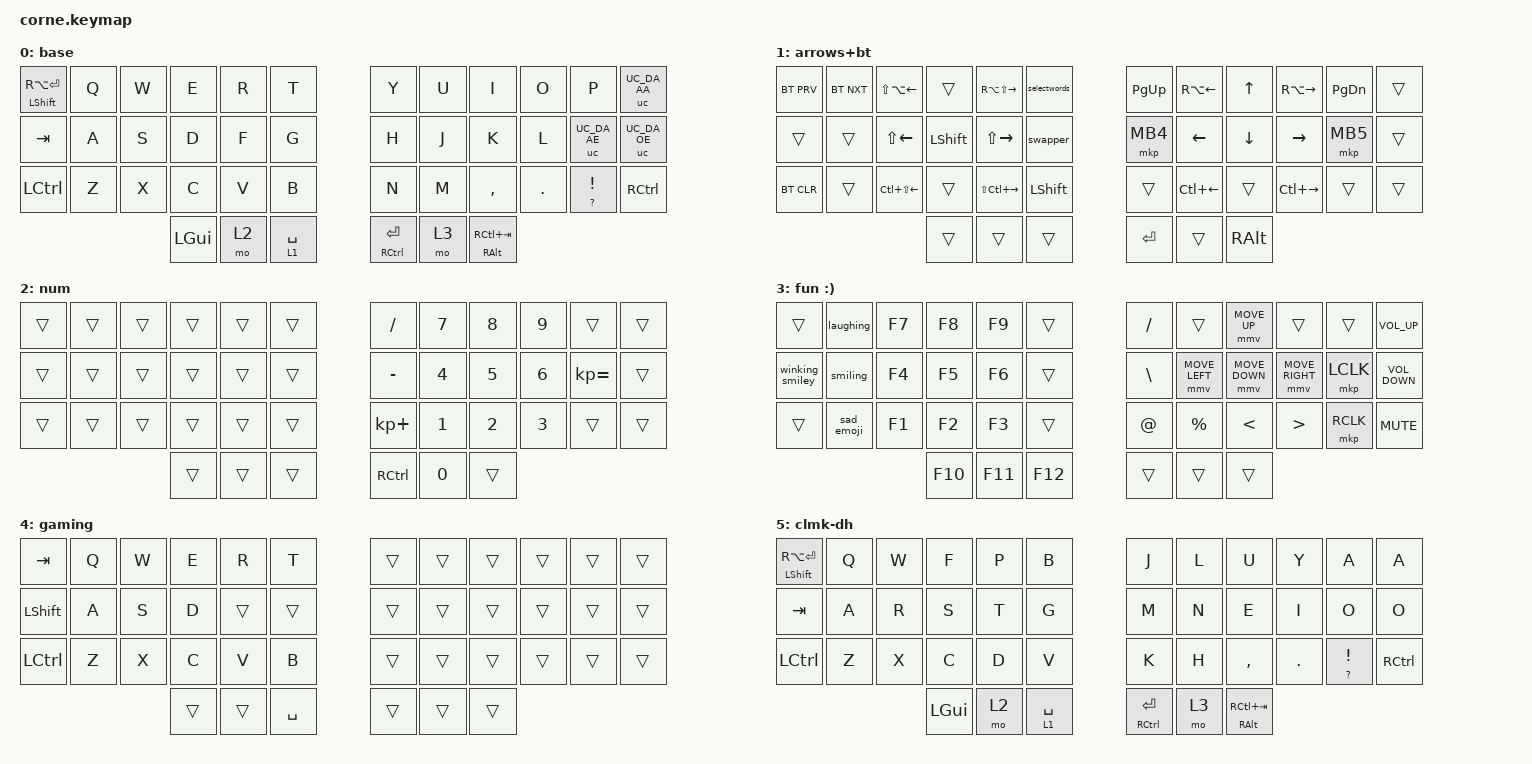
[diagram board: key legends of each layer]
/*
 * Copyright (c) 2020 The ZMK Contributors
 *
 * SPDX-License-Identifier: MIT
 */

#include <dt-bindings/zmk/mouse.h>

// includes for unicode/danish - from urok

#include <behaviors/unicode.dtsi>
#include <behaviors.dtsi>
#include <dt-bindings/zmk/bt.h>
#include <dt-bindings/zmk/ext_power.h>
#include <dt-bindings/zmk/keys.h>
#include <dt-bindings/zmk/pointing.h>

&caps_word { continue-list = <UNDERSCORE BACKSPACE DELETE>; };

&uc {
    default-mode = <UC_MODE_MACOS>;  // Replace with desired input system.
    minimum-length = <4>;
};

/ {
    combos {
        compatible = "zmk,combos";

        backspace {
            bindings = <&kp BACKSPACE>;
            key-positions = <7 8>;
            layers = <0 2 3 5>;
        };

        delete {
            bindings = <&kp DELETE>;
            key-positions = <8 9>;
            layers = <0 1 2 3 5>;
        };

        left_paranthesis {
            bindings = <&kp LEFT_PARENTHESIS>;
            key-positions = <3 2>;
            layers = <0 5>;
            timeout-ms = <20>;
        };

        right_paranthesis {
            bindings = <&kp RIGHT_PARENTHESIS>;
            key-positions = <3 4>;
            layers = <0 5>;
            timeout-ms = <20>;
        };

        left_bracket {
            bindings = <&kp LEFT_BRACKET>;
            key-positions = <14 15>;
            layers = <0 5>;
        };

        right_bracket {
            bindings = <&kp RIGHT_BRACKET>;
            key-positions = <15 16>;
            layers = <0 5>;
        };

        left_brace {
            bindings = <&kp LEFT_BRACE>;
            key-positions = <26 27>;
            layers = <0 5>;
        };

        right_brace {
            bindings = <&kp RIGHT_BRACE>;
            key-positions = <28 27>;
            layers = <0 5>;
        };

        quotation_combo {
            bindings = <&kp DOUBLE_QUOTES>;
            key-positions = <4 5>;
            layers = <0 5>;
        };

        single-quote {
            bindings = <&kp SINGLE_QUOTE>;
            key-positions = <29 28>;
            layers = <0 5>;
        };

        power-on {
            bindings = <&ext_power EP_ON>;
            key-positions = <1 13 25>;
            layers = <3>;
        };

        hash {
            bindings = <&kp HASH>;
            key-positions = <22 23>;
            layers = <0 5>;
        };

        minus-combo {
            bindings = <&kp MINUS>;
            key-positions = <6 7>;
            layers = <0 5>;
        };

        underscore-combo {
            bindings = <&kp UNDERSCORE>;
            key-positions = <30 31>;
            layers = <0 5>;
        };

        shift-left-combo {
            bindings = <&kp LEFT_SHIFT>;
            key-positions = <16 17>;
            layers = <0 5>;
        };

        shift-combo-right {
            bindings = <&kp RIGHT_SHIFT>;
            key-positions = <18 19>;
            layers = <0 5>;
        };

        semicolon_combo {
            bindings = <&kp SEMICOLON>;
            key-positions = <19 20>;
            layers = <0 5>;
        };

        colon_combo {
            bindings = <&kp COLON>;
            key-positions = <21 20>;
            layers = <0 5>;
        };

        copy_combo {
            bindings = <&kp RC(C)>;
            key-positions = <12 13>;
            layers = <0 5>;
        };

        paste_combo {
            bindings = <&kp RC(V)>;
            key-positions = <24 25>;
            layers = <0 5>;
        };

        grave-combo {
            bindings = <&kp GRAVE>;
            key-positions = <31 32>;
        };

        asterisk-combo {
            bindings = <&kp ASTERISK>;
            key-positions = <10 9>;
            layers = <0>;
            require-prior-idle-ms = <100>;
        };

        ampersand-combo {
            bindings = <&kp AMPERSAND>;
            key-positions = <11 10>;
        };

        ctrl-slash-combo {
            bindings = <&kp LC(KP_SLASH)>;
            key-positions = <5 17>;
            layers = <0 5>;
        };

        caps-combo {
            bindings = <&caps_word>;
            key-positions = <17 18>;
            layers = <0 5>;
        };

        shift-combo {
            bindings = <&kp LEFT_SHIFT>;
            key-positions = <40 37>;
            layers = <0>;
        };

        backspace-word {
            bindings = <&kp RA(BACKSPACE)>;
            key-positions = <7 8>;
            layers = <1>;
        };

        delete-word {
            bindings = <&kp RA(DELETE)>;
            key-positions = <8 9>;
            layers = <1>;
        };

        escape-combo {
            bindings = <&kp ESCAPE>;
            key-positions = <0 11>;
            layers = <0 5>;
        };

        to_gaming_layer {
            bindings = <&to 4>;
            key-positions = <11 23 35>;
            layers = <0>;
        };

        to-default-layer {
            bindings = <&to 0>;
            key-positions = <11 23 35>;
            layers = <4>;
        };

        to-colemak {
            bindings = <&to 5>;
            key-positions = <10 22 34>;
            layers = <0>;
        };

        to-default-from-colemak {
            bindings = <&to 0>;
            key-positions = <10 22 34>;
            layers = <5>;
        };

        paste-combo-2 {
            bindings = <&kp RC(V)>;
            key-positions = <29 30>;
        };

        cut-combo-2 {
            bindings = <&kp LC(X)>;
            key-positions = <26 33>;
        };

        //        a-ring-combo {
        //            bindings = <&kp A_RING>;
        //            key-positions = <22 21>;
        //        };

        copy-combo-2 {
            bindings = <&kp RC(C)>;
            key-positions = <2 9>;
        };

        bootloader {
            bindings = <&bootloader>;
            key-positions = <24 25 26 27>;
            layers = <3>;
        };

        percent-combo {
            bindings = <&kp RS(PERCENT)>;
            key-positions = <35 34>;
        };
    };

    macros {
        smiling: smiling {
            compatible = "zmk,behavior-macro";
            label = "SMILING";
            #binding-cells = <0>;
            bindings = <&kp COLON &kp RIGHT_PARENTHESIS &kp SPACE>;
        };

        laughing: laughing {
            compatible = "zmk,behavior-macro";
            label = "LAUGHING";
            #binding-cells = <0>;
            bindings = <&kp COLON &kp LS(D) &kp SPACE>;
        };

        sad_emoji: sad_emoji {
            compatible = "zmk,behavior-macro";
            #binding-cells = <0>;
            bindings = <&kp COLON &kp KP_MINUS &kp LEFT_PARENTHESIS &kp SPACE>;
            label = "SAD_EMOJI";
        };

        winking_smiley: winking_smiley {
            compatible = "zmk,behavior-macro";
            #binding-cells = <0>;
            bindings = <&kp SEMICOLON &kp RIGHT_PARENTHESIS &kp SPACE>;
            label = "WINKING_SMILEY";
        };

        select_word_1: select_word_1 {
            compatible = "zmk,behavior-macro";
            #binding-cells = <0>;
            bindings = <&kp RA(UP)>;
            label = "SELECT_WORD_1";
        };

        select_word_2: select_word_2 {
            compatible = "zmk,behavior-macro";
            #binding-cells = <0>;
            bindings = <&kp RA(UP) &kp RA(UP)>;
            label = "SELECT_WORD_2";
        };

        email: email {
            compatible = "zmk,behavior-macro";
            #binding-cells = <0>;
            bindings = <&none &kp J &kp M &kp A &kp AT &kp S &kp O &kp F &kp T &kp P &kp A &kp Y &kp DOT &kp I &kp O>;
            label = "EMAIL";
        };
    };

    behaviors {
        ht: ht {
            compatible = "zmk,behavior-hold-tap";
            label = "HT";
            bindings = <&kp>, <&kp>;

            #binding-cells = <2>;
            tapping-term-ms = <200>;
            hold-trigger-key-positions = <11 0 1 2 3 4 5 6 7 8 9 10 11 12 13 14 15 16 17 18 19 20 21 22 23 24 25 26 27 28 29 30 31 32 33 34 35 36 37 38 39 40 41>;
        };

        lht: lht {
            compatible = "zmk,behavior-hold-tap";
            label = "LHT";
            bindings = <&kp>, <&kp>;

            #binding-cells = <2>;
            tapping-term-ms = <500>;
            flavor = "tap-preferred";
            hold-trigger-key-positions = <28 27 26>;
        };

        selectwords: selectwords {
            compatible = "zmk,behavior-tap-dance";
            label = "SELECT-WORDS";
            #binding-cells = <0>;
            bindings = <&select_word_1>, <&select_word_2>;
        };

        swapper: swapper {
            compatible = "zmk,behavior-smart-toggle";
            #binding-cells = <0>;
            bindings = <&kp LALT>, <&kp TAB>;

            ignored-key-positions = <17 29>;
        };

        ht_sw: ht_sw {
            compatible = "zmk,behavior-hold-tap";
            #binding-cells = <2>;
            tapping-term-ms = <150>;
            flavor = "hold-preferred";
            bindings = <&kp>, <&swapper>;
        };
    };

    keymap {
        compatible = "zmk,keymap";

        default_layer {
            // -----------------------------------------------------------------------------------------
            // |  ESC |  Q  |  W  |  E  |  R  |  T  |   |  Y  |  U   |  I  |  O  |  P  | [ |
            // |LSHIFT|  A  |  S  |  D  |  F  |  G  |   |  H  |  J   |  K  |  L  |  ;  |  '   |
            // | CTRL |  Z  |  X  |  C  |  V  |  B  |   |  N  |  M   |  ,  |  .  |  /  | BKSP  |
            //                    | GUI | SPC | LWR |   | RSE | ENT  | ALT |

            bindings = <
&mt LSHIFT RA(ENTER)  &kp Q  &kp W  &kp E         &kp R  &kp T          &kp Y                    &kp U  &kp I                  &kp O       &kp P              &uc UC_DA_AA
&kp TAB               &kp A  &kp S  &kp D         &kp F  &kp G          &kp H                    &kp J  &kp K                  &kp L       &uc UC_DA_AE       &uc UC_DA_OE
&kp LCTRL             &kp Z  &kp X  &kp C         &kp V  &kp B          &kp N                    &kp M  &kp COMMA              &kp PERIOD  &mt QUESTION EXCL  &kp RIGHT_CONTROL
                                    &kp LEFT_GUI  &mo 2  &lt 1 SPACE    &mt RIGHT_CONTROL ENTER  &mo 3  &ht RIGHT_ALT RC(TAB)
            >;

            label = "base";
        };

        arrows {
            // -----------------------------------------------------------------------------------------
            // |  TAB |  1  |  2  |  3  |  4  |  5  |   |  6  |  7  |  8  |  9  |  0  | BKSP |
            // | BTCLR| BT1 | BT2 | BT3 | BT4 | BT5 |   | LFT | DWN |  UP | RGT |     |      |
            // | SHFT |     |     |     |     |     |   |     |     |     |     |     |      |
            //                    | GUI |     | SPC |   | ENT |     | ALT |

            bindings = <
&bt BT_PRV  &bt BT_NXT  &kp LS(LA(LEFT_ARROW))  &trans          &kp RA(LS(RIGHT))  &selectwords      &kp PG_UP  &kp RA(LEFT_ARROW)  &kp UP    &kp RA(RIGHT_ARROW)  &kp PAGE_DOWN  &trans
&trans      &trans      &kp LS(LEFT_ARROW)      &kp LEFT_SHIFT  &kp LS(RIGHT)      &swapper          &mkp MB4   &kp LEFT            &kp DOWN  &kp RIGHT            &mkp MB5       &trans
&bt BT_CLR  &trans      &kp LC(LS(LEFT_ARROW))  &trans          &kp LS(LC(RIGHT))  &kp LEFT_SHIFT    &trans     &kp LC(LEFT_ARROW)  &trans    &kp LC(RIGHT_ARROW)  &trans         &trans
                                                &trans          &trans             &trans            &kp RET    &trans              &kp RALT
            >;

            label = "arrows+bt";
        };

        numeric {
            bindings = <
&trans  &trans  &trans  &trans  &trans  &trans    &kp SLASH    &kp N7  &kp N8  &kp N9  &trans        &trans
&trans  &trans  &trans  &trans  &trans  &trans    &kp MINUS    &kp N4  &kp N5  &kp N6  &kp KP_EQUAL  &trans
&trans  &trans  &trans  &trans  &trans  &trans    &kp KP_PLUS  &kp N1  &kp N2  &kp N3  &trans        &trans
                        &trans  &trans  &trans    &kp RCTRL    &kp N0  &trans
            >;

            label = "num";
        };

        function {
            bindings = <
&trans           &laughing   &kp F7  &kp F8   &kp F9   &trans     &kp SLASH  &trans          &mmv MOVE_UP    &trans            &trans     &kp C_VOLUME_UP
&winking_smiley  &smiling    &kp F4  &kp F5   &kp F6   &trans     &kp BSLH   &mmv MOVE_LEFT  &mmv MOVE_DOWN  &mmv MOVE_RIGHT   &mkp LCLK  &kp C_VOLUME_DOWN
&trans           &sad_emoji  &kp F1  &kp F2   &kp F3   &trans     &kp AT     &kp PERCENT     &kp LESS_THAN   &kp GREATER_THAN  &mkp RCLK  &kp K_MUTE
                                     &kp F10  &kp F11  &kp F12    &trans     &trans          &trans
            >;

            label = "fun :)";
        };

        gaming {
            bindings = <
&kp TAB    &kp Q  &kp W  &kp E   &kp R   &kp T        &trans  &trans  &trans  &trans  &trans  &trans
&kp LSHFT  &kp A  &kp S  &kp D   &trans  &trans       &trans  &trans  &trans  &trans  &trans  &trans
&kp LCTRL  &kp Z  &kp X  &kp C   &kp V   &kp B        &trans  &trans  &trans  &trans  &trans  &trans
                         &trans  &trans  &kp SPACE    &trans  &trans  &trans
            >;

            label = "gaming";
        };

        colemak {
            bindings = <
&mt LSHIFT RA(ENTER)  &kp Q  &kp W  &kp F         &kp P  &kp B          &kp J                    &kp L  &kp U                  &kp Y       &kp A              &kp A
&kp TAB               &kp A  &kp R  &kp S         &kp T  &kp G          &kp M                    &kp N  &kp E                  &kp I       &kp O              &kp O
&kp LCTRL             &kp Z  &kp X  &kp C         &kp D  &kp V          &kp K                    &kp H  &kp COMMA              &kp PERIOD  &mt QUESTION EXCL  &kp RIGHT_CONTROL
                                    &kp LEFT_GUI  &mo 2  &lt 1 SPACE    &mt RIGHT_CONTROL ENTER  &mo 3  &ht RIGHT_ALT RC(TAB)
            >;

            label = "clmk-dh";
        };
    };
};
